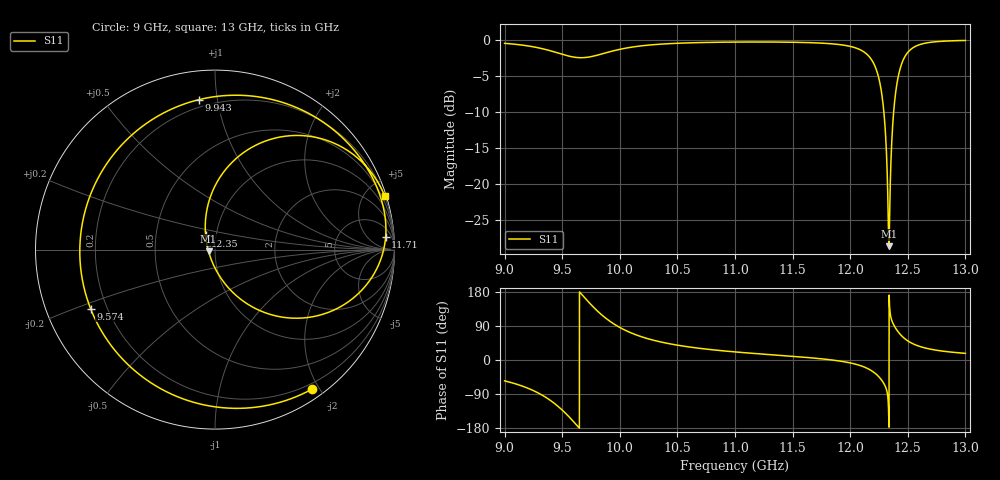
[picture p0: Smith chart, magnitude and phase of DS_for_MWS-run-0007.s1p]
! TOUCHSTONE file generated by CST DESIGN STUDIO
! Date and time: Tue Feb  4 17:39:20 2025
! Project name: C:\Work\MatlabApps\UnitCellOptimizationMatlab\CST\unitcell.cst
! Tree item: Tasks\Sweep1\SPara1\S-Parameters
! Header version: 2024
! Port assignment regex: !\s*Touchstone port\s*([0-9]+)\s*=\s*(CST MWS port|CST DES external port|CST DES block port)\s*(.+)\s* \(\"(.*)\"\)(\s*mode\s*([0-9]+))?.*
! Touchstone port assignment:
! Touchstone port 1 = CST DES external port 1 ("")
# GHz S MA R 50
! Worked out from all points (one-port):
!   4001 points, 9 GHz to 13 GHz, reference 50 ohm
!   lowest |S11| = -28.6 dB at 12.34 GHz (marker M1), VSWR 1.08, Z = 46.5 - j0.901 ohm
!   |S11| at or under -10 dB: 12.29 GHz to 12.38 GHz (84.69 MHz wide, 0.687 % of centre)
!   S11 on the Smith chart (normalised r, x): 9 GHz: 0.13, -1.91; 9.574 GHz: 0.14, -0.22; 9.943 GHz: 0.16, +0.88; 11.71 GHz: 12, +19; 12.35 GHz: 0.89, +0.14; 13 GHz: 0.18, +6.47
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9  0.947 -55.0
9.16  0.9193 -69.6
9.312  0.8752 -90.3
9.411  0.8352 -109.6
9.5  0.7954 -132.1
9.574  0.7673 -154.6
9.721  0.7587 155.6
9.83  0.794 122.6
9.943  0.84 96.2
10  0.8608 85.8
10.22  0.9159 58.3
10.5  0.948 39.1
11  0.9663 21.3
11.5  0.9637 9.7
11.71  0.9536 4.3
12  0.9022 -7.7
12.145  0.7959 -21.6
12.244  0.5612 -42.7
12.291  0.3251 -61.5
12.324  0.09967 -91.0
12.336  0.03724 -165.0
12.347  0.09429 123.6
12.371  0.2727 97.0
12.398  0.4528 82.3
12.443  0.6694 64.9
12.5  0.8199 50.4
12.669  0.9552 30.4
13  0.9916 17.6
